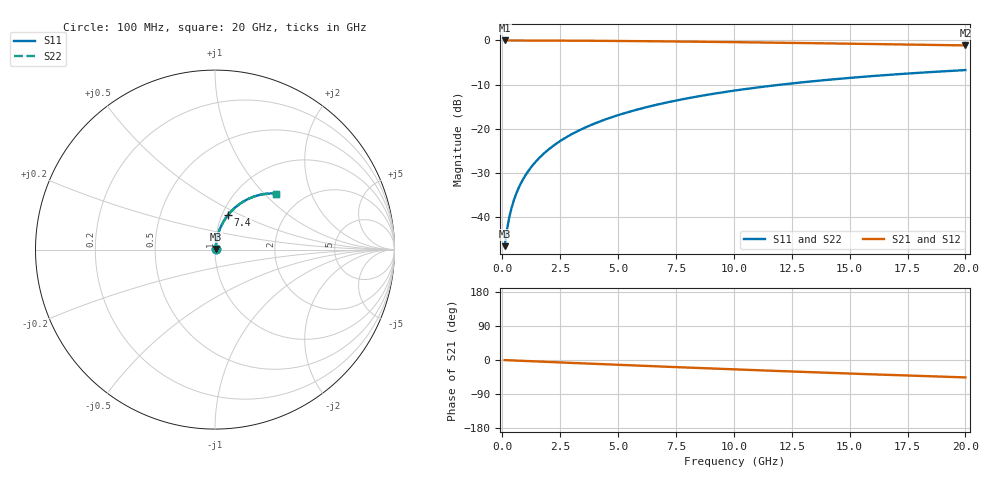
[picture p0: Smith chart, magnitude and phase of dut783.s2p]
! Touchstone file exported from HFSS 2026.1.0
!  File:  C:/ffzhzh/LocalFiles/Ansys_Project_Files/temp_train_TMRDL_783_1783155830_51560.aedt
!  Generated:  05:05:03 PM Jul  4, 2026
!  Design:  TMRDL
!  Project:  temp_train_TMRDL_783_1783155830_51560
! Variables:
!  h_bsmrdl = 2um
!  h_ox = 20um
!  h_rdl = 5um
!  h_sub = 80um
!  h_tmrdl = 3.43um
!  h_tsv = 80um
!  h_via = 3um
!  l_bsmrdl = 300um
!  l_sub = 1041.78um
!  l_tmrdl = 641.78um
!  m_sub = 200um
!  pitch = 53.69um
!  r_tsv = 6um
!  s_tmrdl = 10um
!  w_bsmrdl = 18um
!  w_sub = 500um
!  w_tmrdl = 19.71um
!  x_tsv_center1 = 651.635um
!  x_tsv_center2 = 969.635um
!  x_tsv_center3 = 1631.125um
!  x_tsv_center4 = 1949.125um
!  x_tsv_center5 = 2610.615um
!  x_tsv_center6 = 2928.615um
# GHz S MA R 50.000000
! Terminal data exported
! Port[1] = TM_RDL1_1_T1
! Port[2] = TM_RDL1_1_T2
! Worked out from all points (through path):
!   200 points, 100 MHz to 20 GHz, reference 50 ohm
!   highest |S21| = -0.03 dB at 100 MHz (marker M1); lowest = -1.1 dB at 20 GHz (marker M2)
!   group delay of S21, straight-line fit = 6.4 ps
!   lowest |S11| = -46.5 dB at 100 MHz (marker M3), VSWR 1.01, Z = 50.4 + j0.313 ohm
!   |S11| at or under -10 dB: start of sweep to 12.06 GHz
!   |S22| runs from -46.5 to -6.7 dB; largest |S21 - S12| = 3.8e-15
!   S11 on the Smith chart (normalised r, x): 100 MHz: 1.01, +0.01; 7.4 GHz: 1.07, +0.43; 20 GHz: 1.47, +1.17
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0.1  0.004712 41.3  0.9965 -0.3  0.9965 -0.3  0.004712 41.3
! Gamma 0 0 0 0
! Port Impedance 50 0 50 0
0.2  0.007187 59.0  0.9963 -0.5  0.9963 -0.5  0.007187 59.0
0.3  0.009946 66.8  0.9962 -0.8  0.9962 -0.8  0.009947 66.8
0.4  0.01276 71.0  0.996 -1.1  0.996 -1.1  0.01276 71.0
0.5  0.01559 73.7  0.9959 -1.3  0.9959 -1.3  0.01559 73.7
0.6  0.01842 75.5  0.9957 -1.6  0.9957 -1.6  0.01842 75.5
0.8  0.02409 77.7  0.9955 -2.1  0.9955 -2.1  0.02409 77.7
1.1  0.03265 79.4  0.9951 -2.8  0.9951 -2.8  0.03265 79.4
1.5  0.0441 80.2  0.9945 -3.9  0.9945 -3.9  0.04411 80.2
1.8  0.0527 80.3  0.994 -4.6  0.994 -4.6  0.0527 80.3
2.1  0.0613 80.1  0.9934 -5.4  0.9934 -5.4  0.0613 80.1
2.7  0.07842 79.4  0.9919 -6.9  0.9919 -6.9  0.07842 79.4
3.5  0.101 78.0  0.9895 -8.9  0.9895 -8.9  0.101 78.0
4.2  0.1206 76.6  0.987 -10.7  0.987 -10.7  0.1206 76.6
5  0.1426 74.8  0.9836 -12.7  0.9836 -12.7  0.1426 74.8
6.8  0.1905 70.7  0.9744 -17.1  0.9744 -17.1  0.1905 70.7
7.4  0.206 69.4  0.971 -18.5  0.971 -18.5  0.206 69.3
8.7  0.2385 66.4  0.9629 -21.6  0.9629 -21.6  0.2385 66.4
10.1  0.272 63.2  0.9533 -24.9  0.9533 -24.9  0.272 63.2
13.4  0.3444 56.0  0.9287 -32.3  0.9287 -32.3  0.3444 56.0
16.7  0.4073 49.2  0.9024 -39.3  0.9024 -39.3  0.4074 49.1
20  0.4609 42.7  0.8763 -46.0  0.8763 -46.0  0.4609 42.7
